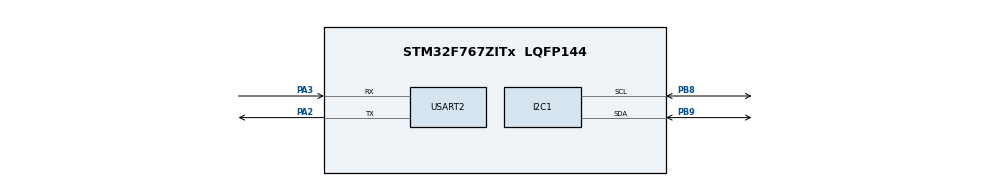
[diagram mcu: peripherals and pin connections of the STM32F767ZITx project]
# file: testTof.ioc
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Mcu.Family=STM32F7
Mcu.Name=STM32F767ZITx
Mcu.Package=LQFP144
NVIC.PriorityGroup=NVIC_PRIORITYGROUP_4
PA2.Mode=Asynchronous
PA2.Signal=USART2_TX
PA3.Mode=Asynchronous
PA3.Signal=USART2_RX
PB8.Mode=I2C
PB8.Signal=I2C1_SCL
PB9.Mode=I2C
PB9.Signal=I2C1_SDA
ProjectManager.HeapSize=0x200
ProjectManager.StackSize=0x400
ProjectManager.TargetToolchain=STM32CubeIDE
RCC.HSE_VALUE=25000000
RCC.HSI_VALUE=16000000
RCC.LSE_VALUE=32768
RCC.USBFreq_Value=96000000
RCC.VCOOutputFreq_Value=192000000
USART2.VirtualMode-Asynchronous=VM_ASYNC
board=custom

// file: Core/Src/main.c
/* USER CODE BEGIN Header */
/**
  ******************************************************************************
  * @file           : main.c
  * @brief          : Main program body
  ******************************************************************************
  * @attention
  *
  * <h2><center>&copy; Copyright (c) 2021 STMicroelectronics.
  * All rights reserved.</center></h2>
  *
  * This software component is licensed by ST under BSD 3-Clause license,
  * the "License"; You may not use this file except in compliance with the
  * License. You may obtain a copy of the License at:
  *                        opensource.org/licenses/BSD-3-Clause
  *
  ******************************************************************************
  */
/* USER CODE END Header */
#include "main.h"

/* USER CODE BEGIN Includes */
#include "vl53l1_api.h"
/* USER CODE END Includes */

I2C_HandleTypeDef hi2c1;

UART_HandleTypeDef huart2;

/* USER CODE BEGIN PV */
// I2C addresses of GPIO expanders on the X-NUCLEO-53L1A1
#define EXPANDER_1_ADDR 0x84 // 0x42 << 1  //DID
#define EXPANDER_2_ADDR 0x86 // 0x43 << 1 //DID
/* USER CODE END PV */

void SystemClock_Config(void);
static void MX_GPIO_Init(void);
static void MX_I2C1_Init(void);
static void MX_USART2_UART_Init(void);

int main(void)
{
  /* USER CODE BEGIN 1 */
	uint8_t buff[50];  //DID
	VL53L1_RangingMeasurementData_t RangingData;
	VL53L1_Dev_t  vl53l1_c; // center module
	VL53L1_DEV    Dev = &vl53l1_c; //DID
  /* USER CODE END 1 */

  /* MCU Configuration--------------------------------------------------------*/

  /* Reset of all peripherals, Initializes the Flash interface and the Systick. */
  HAL_Init();

  /* Configure the system clock */
  SystemClock_Config();

  /* Initialize all configured peripherals */
  MX_GPIO_Init();
  MX_I2C1_Init();
  MX_USART2_UART_Init();
  /* USER CODE BEGIN 2 */

  // initialize vl53l1x communication parameters
  Dev->I2cHandle = &hi2c1; //DID
  Dev->I2cDevAddr = 0x29;

  /*** VL53L1X Initialization ***/
  VL53L1_WaitDeviceBooted( Dev );
  VL53L1_DataInit( Dev );
  VL53L1_StaticInit( Dev );
  VL53L1_SetDistanceMode( Dev, VL53L1_DISTANCEMODE_LONG );
  VL53L1_SetMeasurementTimingBudgetMicroSeconds( Dev, 50000 );
  VL53L1_SetInterMeasurementPeriodMilliSeconds( Dev, 500 );
  VL53L1_StartMeasurement( Dev );  //DID
  /* USER CODE END 2 */

  /* Infinite loop */
  /* USER CODE BEGIN WHILE */
  /* USER CODE BEGIN WHILE */
  /* USER CODE BEGIN WHILE */
  while (1)
  {
    /* USER CODE END WHILE */
	VL53L1_WaitMeasurementDataReady( Dev );

	VL53L1_GetRangingMeasurementData( Dev, &RangingData );

	sprintf( (char*)buff, "%d, %d, %.2f, %.2f\n\r", RangingData.RangeStatus, RangingData.RangeMilliMeter,
			 ( RangingData.SignalRateRtnMegaCps / 65536.0 ), RangingData.AmbientRateRtnMegaCps / 65336.0 );
	HAL_UART_Transmit( &huart2, buff, strlen( (char*)buff ), 0xFFFF );

	VL53L1_ClearInterruptAndStartMeasurement( Dev );
  }
}

void SystemClock_Config(void)
{
  RCC_OscInitTypeDef RCC_OscInitStruct = {0};
  RCC_ClkInitTypeDef RCC_ClkInitStruct = {0};
  RCC_PeriphCLKInitTypeDef PeriphClkInitStruct = {0};

  /** Configure the main internal regulator output voltage
  */
  __HAL_RCC_PWR_CLK_ENABLE();
  __HAL_PWR_VOLTAGESCALING_CONFIG(PWR_REGULATOR_VOLTAGE_SCALE3);
  /** Initializes the RCC Oscillators according to the specified parameters
  * in the RCC_OscInitTypeDef structure.
  */
  RCC_OscInitStruct.OscillatorType = RCC_OSCILLATORTYPE_HSI;
  RCC_OscInitStruct.HSIState = RCC_HSI_ON;
  RCC_OscInitStruct.HSICalibrationValue = RCC_HSICALIBRATION_DEFAULT;
  RCC_OscInitStruct.PLL.PLLState = RCC_PLL_NONE;
  if (HAL_RCC_OscConfig(&RCC_OscInitStruct) != HAL_OK)
  {
    Error_Handler();
  }
  /** Initializes the CPU, AHB and APB buses clocks
  */
  RCC_ClkInitStruct.ClockType = RCC_CLOCKTYPE_HCLK|RCC_CLOCKTYPE_SYSCLK
                              |RCC_CLOCKTYPE_PCLK1|RCC_CLOCKTYPE_PCLK2;
  RCC_ClkInitStruct.SYSCLKSource = RCC_SYSCLKSOURCE_HSI;
  RCC_ClkInitStruct.AHBCLKDivider = RCC_SYSCLK_DIV1;
  RCC_ClkInitStruct.APB1CLKDivider = RCC_HCLK_DIV1;
  RCC_ClkInitStruct.APB2CLKDivider = RCC_HCLK_DIV1;

  if (HAL_RCC_ClockConfig(&RCC_ClkInitStruct, FLASH_LATENCY_0) != HAL_OK)
  {
    Error_Handler();
  }
  PeriphClkInitStruct.PeriphClockSelection = RCC_PERIPHCLK_USART2|RCC_PERIPHCLK_I2C1;
  PeriphClkInitStruct.Usart2ClockSelection = RCC_USART2CLKSOURCE_PCLK1;
  PeriphClkInitStruct.I2c1ClockSelection = RCC_I2C1CLKSOURCE_PCLK1;
  if (HAL_RCCEx_PeriphCLKConfig(&PeriphClkInitStruct) != HAL_OK)
  {
    Error_Handler();
  }
}

static void MX_I2C1_Init(void)
{

  hi2c1.Instance = I2C1;
  hi2c1.Init.Timing = 0x00303D5B;
  hi2c1.Init.OwnAddress1 = 0;
  hi2c1.Init.AddressingMode = I2C_ADDRESSINGMODE_7BIT;
  hi2c1.Init.DualAddressMode = I2C_DUALADDRESS_DISABLE;
  hi2c1.Init.OwnAddress2 = 0;
  hi2c1.Init.OwnAddress2Masks = I2C_OA2_NOMASK;
  hi2c1.Init.GeneralCallMode = I2C_GENERALCALL_DISABLE;
  hi2c1.Init.NoStretchMode = I2C_NOSTRETCH_DISABLE;
  if (HAL_I2C_Init(&hi2c1) != HAL_OK)
  {
    Error_Handler();
  }
  /** Configure Analogue filter
  */
  if (HAL_I2CEx_ConfigAnalogFilter(&hi2c1, I2C_ANALOGFILTER_ENABLE) != HAL_OK)
  {
    Error_Handler();
  }
  /** Configure Digital filter
  */
  if (HAL_I2CEx_ConfigDigitalFilter(&hi2c1, 0) != HAL_OK)
  {
    Error_Handler();
  }

}

static void MX_USART2_UART_Init(void)
{

  huart2.Instance = USART2;
  huart2.Init.BaudRate = 115200;
  huart2.Init.WordLength = UART_WORDLENGTH_8B;
  huart2.Init.StopBits = UART_STOPBITS_1;
  huart2.Init.Parity = UART_PARITY_NONE;
  huart2.Init.Mode = UART_MODE_TX_RX;
  huart2.Init.HwFlowCtl = UART_HWCONTROL_NONE;
  huart2.Init.OverSampling = UART_OVERSAMPLING_16;
  huart2.Init.OneBitSampling = UART_ONE_BIT_SAMPLE_DISABLE;
  huart2.AdvancedInit.AdvFeatureInit = UART_ADVFEATURE_NO_INIT;
  if (HAL_UART_Init(&huart2) != HAL_OK)
  {
    Error_Handler();
  }

}

static void MX_GPIO_Init(void)
{

  /* GPIO Ports Clock Enable */
  __HAL_RCC_GPIOA_CLK_ENABLE();
  __HAL_RCC_GPIOB_CLK_ENABLE();

}

void Error_Handler(void)
{
  __disable_irq();
  while (1)
  {
  }
}

/************************ (C) COPYRIGHT STMicroelectronics *****END OF FILE****/
